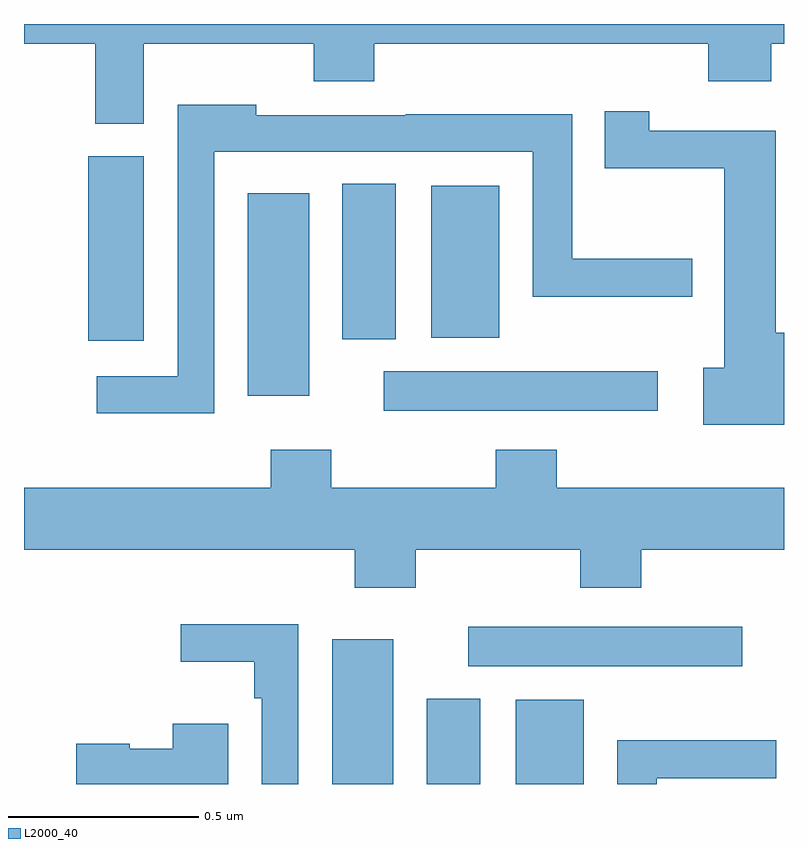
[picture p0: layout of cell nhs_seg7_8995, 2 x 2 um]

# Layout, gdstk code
import gdstk
lib = gdstk.Library(unit=1e-6, precision=1e-09)
def R(c, l, rs):  # rectangles x0, y0, x1, y1
    for r in rs: c.add(gdstk.rectangle(r[:2], r[2:], *l))
def P(c, l, *ps):  # polygons
    for p in ps: c.add(gdstk.Polygon(p, *l))
L2000_40 = (2000, 40)

nhs_seg7_8995 = lib.new_cell('nhs_seg7_8995')
R(nhs_seg7_8995, L2000_40, [(232.811,1000,232.972,1000.381), (233.06,1000,233.2,1000.225), (233.294,1000,233.473,1000.222), (233.169,1000.31,233.89,1000.414), (232.947,1000.982,233.668,1001.086), (232.589,1001.022,232.75,1001.554), (232.169,1001.166,232.315,1001.652), (232.838,1001.171,232.978,1001.579), (233.072,1001.174,233.251,1001.575)])
P(nhs_seg7_8995, L2000_40, [(232.315,1001.948),(232.762,1001.948),(232.762,1001.849),(232.922,1001.849),(232.922,1001.948),(233.801,1001.948),(233.801,1001.849),(233.966,1001.849),(233.966,1001.948),(234,1001.948),(234,1002),(232,1002),(232,1001.948),(232.187,1001.948),(232.187,1001.737),(232.315,1001.737)],
  [(232.5,1001.664),(233.339,1001.664),(233.339,1001.282),(233.758,1001.282),(233.758,1001.382),(233.443,1001.382),(233.443,1001.762),(233.005,1001.762),(233.005,1001.76),(232.611,1001.76),(232.611,1001.788),(232.404,1001.788),(232.404,1001.073),(232.191,1001.073),(232.191,1000.976),(232.5,1000.976)],
  [(234,1001.188),(233.978,1001.188),(233.978,1001.719),(233.646,1001.719),(233.646,1001.77),(233.528,1001.77),(233.528,1001.62),(233.843,1001.62),(233.843,1001.096),(233.787,1001.096),(233.787,1000.946),(234,1000.946)],
  [(233.242,1000.879),(233.242,1000.78),(232.809,1000.78),(232.809,1000.879),(232.649,1000.879),(232.649,1000.78),(232,1000.78),(232,1000.616),(232.871,1000.616),(232.871,1000.517),(233.031,1000.517),(233.031,1000.616),(233.464,1000.616),(233.464,1000.517),(233.624,1000.517),(233.624,1000.616),(234,1000.616),(234,1000.78),(233.402,1000.78),(233.402,1000.879)],
  [(232.722,1000.421),(232.413,1000.421),(232.413,1000.322),(232.606,1000.322),(232.606,1000.226),(232.626,1000.226),(232.626,1000),(232.722,1000)],
  [(232.537,1000.159),(232.391,1000.159),(232.391,1000.093),(232.278,1000.093),(232.278,1000.106),(232.137,1000.106),(232.137,1000),(232.537,1000)],
  [(233.665,1000.015),(233.98,1000.015),(233.98,1000.115),(233.561,1000.115),(233.561,1000),(233.665,1000)])

lib.write_gds('nhs_seg7_8995.gds')
